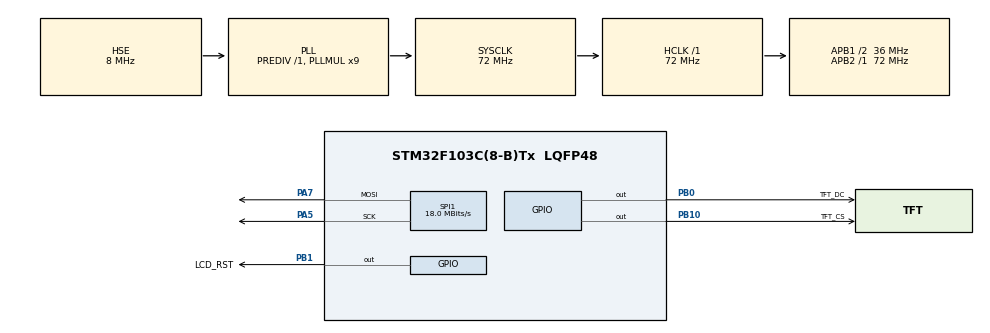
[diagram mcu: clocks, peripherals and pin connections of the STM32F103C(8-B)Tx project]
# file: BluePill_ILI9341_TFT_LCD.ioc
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Dma.Request0=SPI1_TX
Dma.SPI1_TX.0.Direction=DMA_MEMORY_TO_PERIPH
Dma.SPI1_TX.0.Instance=DMA1_Channel3
Dma.SPI1_TX.0.MemDataAlignment=DMA_MDATAALIGN_BYTE
Dma.SPI1_TX.0.MemInc=DMA_MINC_ENABLE
Dma.SPI1_TX.0.Mode=DMA_NORMAL
Dma.SPI1_TX.0.PeriphDataAlignment=DMA_PDATAALIGN_BYTE
Dma.SPI1_TX.0.PeriphInc=DMA_PINC_DISABLE
Dma.SPI1_TX.0.Priority=DMA_PRIORITY_LOW
Mcu.Family=STM32F1
Mcu.Name=STM32F103C(8-B)Tx
Mcu.Package=LQFP48
NVIC.DMA1_Channel3_IRQn=true\:0\:0\:false\:false\:true\:false\:true\:true
NVIC.PriorityGroup=NVIC_PRIORITYGROUP_4
PA13.Mode=Serial_Wire
PA13.Signal=SYS_JTMS-SWDIO
PA14.Mode=Serial_Wire
PA14.Signal=SYS_JTCK-SWCLK
PA5.Mode=TX_Only_Simplex_Unidirect_Master
PA5.Signal=SPI1_SCK
PA7.Mode=TX_Only_Simplex_Unidirect_Master
PA7.Signal=SPI1_MOSI
PB0.GPIO_Label=TFT_DC
PB0.Signal=GPIO_Output
PB1.GPIO_Label=LCD_RST
PB1.Signal=GPIO_Output
PB10.GPIO_Label=TFT_CS
PB10.Signal=GPIO_Output
PD0-OSC_IN.Mode=HSE-External-Oscillator
PD0-OSC_IN.Signal=RCC_OSC_IN
PD1-OSC_OUT.Mode=HSE-External-Oscillator
PD1-OSC_OUT.Signal=RCC_OSC_OUT
ProjectManager.HeapSize=0x200
ProjectManager.StackSize=0x400
ProjectManager.TargetToolchain=STM32CubeIDE
RCC.AHBFreq_Value=72000000
RCC.APB1CLKDivider=RCC_HCLK_DIV2
RCC.APB1Freq_Value=36000000
RCC.APB1TimFreq_Value=72000000
RCC.APB2Freq_Value=72000000
RCC.APB2TimFreq_Value=72000000
RCC.HCLKFreq_Value=72000000
RCC.PLLMUL=RCC_PLL_MUL9
RCC.PLLSourceVirtual=RCC_PLLSOURCE_HSE
RCC.SYSCLKFreq_VALUE=72000000
RCC.SYSCLKSource=RCC_SYSCLKSOURCE_PLLCLK
RCC.USBFreq_Value=72000000
SPI1.BaudRatePrescaler=SPI_BAUDRATEPRESCALER_4
SPI1.CalculateBaudRate=18.0 MBits/s
SPI1.Direction=SPI_DIRECTION_2LINES
SPI1.Mode=SPI_MODE_MASTER
SPI1.VirtualType=VM_MASTER
board=custom

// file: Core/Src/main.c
/* USER CODE BEGIN Header */
/**
  ******************************************************************************
  * @file           : main.c
  * @brief          : Main program body
  ******************************************************************************
  * @attention
  *
  * Copyright (c) 2025 STMicroelectronics.
  * All rights reserved.
  *
  * This software is licensed under terms that can be found in the LICENSE file
  * in the root directory of this software component.
  * If no LICENSE file comes with this software, it is provided AS-IS.
  *
  ******************************************************************************
  */
/* USER CODE END Header */
#include "main.h"

/* USER CODE BEGIN Includes */
#include "ILI9341_STM32_Driver.h"
#include "ILI9341_GFX.h"
#include "stdio.h"
#include "stdlib.h"
/* USER CODE END Includes */

SPI_HandleTypeDef hspi1;
DMA_HandleTypeDef hdma_spi1_tx;

void SystemClock_Config(void);
static void MX_GPIO_Init(void);
static void MX_DMA_Init(void);
static void MX_SPI1_Init(void);

/* USER CODE BEGIN 0 */
static uint16_t x = 0;
static uint16_t y = 0;
static char BufferText[40];
/* USER CODE END 0 */

int main(void)
{

  /* MCU Configuration--------------------------------------------------------*/

  /* Reset of all peripherals, Initializes the Flash interface and the Systick. */
  HAL_Init();

  /* Configure the system clock */
  SystemClock_Config();

  /* Initialize all configured peripherals */
  MX_GPIO_Init();
  MX_DMA_Init();
  MX_SPI1_Init();
  /* USER CODE BEGIN 2 */
  ILI9341_Init();

	// Simple Text writing (Text, Font, X, Y, Color, BackColor)
	// Available Fonts are FONT1, FONT2, FONT3 and FONT4
	ILI9341_FillScreen(WHITE);
	ILI9341_SetRotation(SCREEN_HORIZONTAL_2);
	ILI9341_DrawText("HELLO WORLD", FONT4, 90, 110, BLACK, WHITE);
	HAL_Delay(1000);

	//Writing numbers
	ILI9341_FillScreen(WHITE);
	for(uint8_t i = 0; i <= 5; i++)
	{
	  sprintf(BufferText, "COUNT : %d", i);
	  ILI9341_DrawText(BufferText, FONT3, 10, 10, BLACK, WHITE);
	  ILI9341_DrawText(BufferText, FONT3, 10, 30, BLUE, WHITE);
	  ILI9341_DrawText(BufferText, FONT3, 10, 50, RED, WHITE);
	  ILI9341_DrawText(BufferText, FONT3, 10, 70, GREEN, WHITE);
	  ILI9341_DrawText(BufferText, FONT3, 10, 90, YELLOW, WHITE);
	  ILI9341_DrawText(BufferText, FONT3, 10, 110, PURPLE, WHITE);
	  ILI9341_DrawText(BufferText, FONT3, 10, 130, ORANGE, WHITE);
	  ILI9341_DrawText(BufferText, FONT3, 10, 150, MAROON, WHITE);
	  ILI9341_DrawText(BufferText, FONT3, 10, 170, WHITE, BLACK);
	  ILI9341_DrawText(BufferText, FONT3, 10, 190, BLUE, BLACK);
	}

	// Horizontal Line (X, Y, Length, Color)
	ILI9341_FillScreen(WHITE);
	ILI9341_DrawHLine(50, 120, 200, NAVY);
	HAL_Delay(1000);

	// Vertical Line (X, Y, Length, Color)
	ILI9341_FillScreen(WHITE);
	ILI9341_DrawVLine(160, 40, 150, DARKGREEN);
	HAL_Delay(1000);

	// Hollow Circle (Centre X, Centre Y, Radius, Color)
	ILI9341_FillScreen(WHITE);
	ILI9341_DrawHollowCircle(160, 120, 80, PINK);
	HAL_Delay(1000);

	// Filled Circle (Centre X, Centre Y, Radius, Color)
	ILI9341_FillScreen(WHITE);
	ILI9341_DrawFilledCircle(160, 120, 50, CYAN);
	HAL_Delay(1000);

	// Filled Rectangle (Start X, Start Y, Length X, Length Y)
	ILI9341_FillScreen(WHITE);
	ILI9341_DrawRectangle(50, 50, 220, 140, GREENYELLOW);
	HAL_Delay(1000);

	// Hollow Rectangle (Start X, Start Y, End X, End Y)
	ILI9341_FillScreen(WHITE);
	ILI9341_DrawHollowRectangleCoord(50, 50, 270, 190, DARKCYAN);
	HAL_Delay(1000);

	// Simple Pixel Only (X, Y, Color)
	ILI9341_FillScreen(WHITE);
	ILI9341_DrawPixel(100, 100, BLACK);
	HAL_Delay(1000);

	/* COUNTING MULTIPLE SEGMENTS */
	ILI9341_FillScreen(WHITE);
	ILI9341_SetRotation(SCREEN_HORIZONTAL_2);
	ILI9341_DrawText("Counting multiple segments at once", FONT2, 10, 10, BLACK, WHITE);
	HAL_Delay(2000);
	ILI9341_FillScreen(WHITE);

	for(uint16_t i = 0; i <= 10; i++)
	{
		sprintf(BufferText, "Counting: %d", i);
		ILI9341_DrawText(BufferText, FONT3, 10, 10, BLACK, WHITE);
		ILI9341_DrawText(BufferText, FONT3, 10, 30, BLUE, WHITE);
		ILI9341_DrawText(BufferText, FONT3, 10, 50, RED, WHITE);
		ILI9341_DrawText(BufferText, FONT3, 10, 70, GREEN, WHITE);
		ILI9341_DrawText(BufferText, FONT3, 10, 90, BLACK, WHITE);
		ILI9341_DrawText(BufferText, FONT3, 10, 110, BLUE, WHITE);
		ILI9341_DrawText(BufferText, FONT3, 10, 130, RED, WHITE);
		ILI9341_DrawText(BufferText, FONT3, 10, 150, GREEN, WHITE);
		ILI9341_DrawText(BufferText, FONT3, 10, 170, WHITE, BLACK);
		ILI9341_DrawText(BufferText, FONT3, 10, 190, BLUE, BLACK);
		ILI9341_DrawText(BufferText, FONT3, 10, 210, RED, BLACK);
	}
	HAL_Delay(1000);

	/* COUNTING SINGLE SEGMENT */
	ILI9341_FillScreen(WHITE);
	ILI9341_SetRotation(SCREEN_HORIZONTAL_2);
	ILI9341_DrawText("Counting single segment", FONT3, 10, 10, BLACK, WHITE);
	HAL_Delay(2000);
	ILI9341_FillScreen(WHITE);

	for(uint16_t i = 0; i <= 100; i++)
	{
		sprintf(BufferText, "Counting: %d", i);
		ILI9341_DrawText(BufferText, FONT4, 10, 10, BLACK, WHITE);
		HAL_Delay(10);
	}
	HAL_Delay(1000);

	/* ALIGNMENT TEST */
	ILI9341_FillScreen(WHITE);
	ILI9341_SetRotation(SCREEN_HORIZONTAL_2);
	ILI9341_DrawText("Rectangle alignment check", FONT3, 10, 10, BLACK, WHITE);
	HAL_Delay(2000);
	ILI9341_FillScreen(WHITE);

	ILI9341_DrawHollowRectangleCoord(50, 50, 100, 100, BLACK);
	ILI9341_DrawFilledRectangleCoord(20, 20, 50, 50, BLACK);
	ILI9341_DrawHollowRectangleCoord(10, 10, 19, 19, BLACK);
	HAL_Delay(1000);

	/* LINES EXAMPLE */
	ILI9341_FillScreen(WHITE);
	ILI9341_SetRotation(SCREEN_HORIZONTAL_2);
	ILI9341_DrawText("Randomly placed and sized", FONT3, 10, 10, BLACK, WHITE);
	ILI9341_DrawText("Horizontal and Vertical lines", FONT3, 10, 30, BLACK, WHITE);
	HAL_Delay(2000);
	ILI9341_FillScreen(WHITE);

	for(uint32_t i = 0; i < 30000; i++)
	{
		uint32_t random_num = 0;
		uint16_t xr = 0;
		uint16_t yr = 0;
		uint16_t radiusr = 0;
		uint16_t colourr = 0;

		//Get random inputs
		random_num = rand();
		xr = random_num;
		random_num = rand();
		yr = random_num;
		random_num = rand();
		radiusr = random_num;
		random_num = rand();
		colourr = random_num;

		xr &= 0x01FF;
		yr &= 0x01FF;
		radiusr &= 0x001F;

		ILI9341_DrawHLine(xr, yr, radiusr, colourr);
		ILI9341_DrawVLine(xr, yr, radiusr, colourr);
	}
	HAL_Delay(1000);

	/* HOLLOW CIRCLES EXAMPLE */
	ILI9341_FillScreen(WHITE);
	ILI9341_SetRotation(SCREEN_HORIZONTAL_2);
	ILI9341_DrawText("Randomly placed and sized", FONT3, 10, 10, BLACK, WHITE);
	ILI9341_DrawText("Circles", FONT3, 10, 30, BLACK, WHITE);
	HAL_Delay(2000);
	ILI9341_FillScreen(WHITE);

	for(uint32_t i = 0; i < 3000; i++)
	{
		uint32_t random_num = 0;
		uint16_t xr = 0;
		uint16_t yr = 0;
		uint16_t radiusr = 0;
		uint16_t colourr = 0;

		random_num = rand();
		xr = random_num;
		random_num = rand();
		yr = random_num;
		random_num = rand();
		radiusr = random_num;
		random_num = rand();
		colourr = random_num;

		xr &= 0x01FF;
		yr &= 0x01FF;
		radiusr &= 0x001F;

		ILI9341_DrawHollowCircle(xr, yr, radiusr*2, colourr);
	}
	HAL_Delay(1000);

	/* FILLED CIRCLES EXAMPLE */
	ILI9341_FillScreen(WHITE);
	ILI9341_SetRotation(SCREEN_HORIZONTAL_2);
	ILI9341_DrawText("Randomly placed and sized", FONT3, 10, 10, BLACK,WHITE);
	ILI9341_DrawText("Filled Circles", FONT3, 10, 30, BLACK, WHITE);
	HAL_Delay(2000);
	ILI9341_FillScreen(WHITE);

	for(uint32_t i = 0; i < 1000; i++)
	{
		uint32_t random_num = 0;
		uint16_t xr = 0;
		uint16_t yr = 0;
		uint16_t radiusr = 0;
		uint16_t colourr = 0;

		random_num = rand();
		xr = random_num;
		random_num = rand();
		yr = random_num;
		random_num = rand();
		radiusr = random_num;
		random_num = rand();
		colourr = random_num;

		xr &= 0x01FF;
		yr &= 0x01FF;
		radiusr &= 0x001F;

		ILI9341_DrawFilledCircle(xr, yr, radiusr/2, colourr);
	}
	HAL_Delay(1000);

	/* HOLLOW RECTANGLES EXAMPLE */
	ILI9341_FillScreen(WHITE);
	ILI9341_SetRotation(SCREEN_HORIZONTAL_2);
	ILI9341_DrawText("Randomly placed and sized", FONT3, 10, 10, BLACK, WHITE);
	ILI9341_DrawText("Rectangles", FONT3, 10, 30, BLACK, WHITE);
	HAL_Delay(2000);
	ILI9341_FillScreen(WHITE);

	for(uint32_t i = 0; i < 20000; i++)
	{
		uint32_t random_num = 0;
		uint16_t xr = 0;
		uint16_t yr = 0;
		uint16_t radiusr = 0;
		uint16_t colourr = 0;

		random_num = rand();
		xr = random_num;
		random_num = rand();
		yr = random_num;
		random_num = rand();
		radiusr = random_num;
		random_num = rand();
		colourr = random_num;

		xr &= 0x01FF;
		yr &= 0x01FF;
		radiusr &= 0x001F;

		ILI9341_DrawHollowRectangleCoord(xr, yr, xr+radiusr, yr+radiusr, colourr);
	}
	HAL_Delay(1000);

	/* FILLED RECTANGLES EXAMPLE */
	ILI9341_FillScreen(WHITE);
	ILI9341_SetRotation(SCREEN_HORIZONTAL_2);
	ILI9341_DrawText("Randomly placed and sized", FONT3, 10, 10, BLACK, WHITE);
	ILI9341_DrawText("Filled Rectangles", FONT3, 10, 30, BLACK, WHITE);
	HAL_Delay(2000);
	ILI9341_FillScreen(WHITE);

	for(uint32_t i = 0; i < 20000; i++)
	{
		uint32_t random_num = 0;
		uint16_t xr = 0;
		uint16_t yr = 0;
		uint16_t radiusr = 0;
		uint16_t color = 0;

		random_num = rand();
		xr = random_num;
		random_num = rand();
		yr = random_num;
		random_num = rand();
		radiusr = random_num;
		random_num = rand();
		color = random_num;

		xr &= 0x01FF;
		yr &= 0x01FF;
		radiusr &= 0x001F;

		ILI9341_DrawRectangle(xr, yr, radiusr, radiusr, color);
	}
	HAL_Delay(1000);

	/* INDIVIDUAL PIXEL EXAMPLE */

	ILI9341_FillScreen(WHITE);
	ILI9341_SetRotation(SCREEN_HORIZONTAL_2);
	ILI9341_DrawText("Slow draw by selecting", FONT3, 10, 10, BLACK, WHITE);
	ILI9341_DrawText("and adressing pixels", FONT3, 10, 30, BLACK, WHITE);
	HAL_Delay(2000);
	ILI9341_FillScreen(WHITE);

	x = 0;
	y = 0;

	while (y < ILI9341_SCREEN_HEIGHT)
	{
		while ((x < ILI9341_SCREEN_WIDTH) && (y < ILI9341_SCREEN_HEIGHT))
		{
			if(x % 2)
			{
				ILI9341_DrawPixel(x, y, BLACK);
			}
			x++;
		}
		y++;
		x = 0;
	}

	x = 0;
	y = 0;

	while (y < ILI9341_SCREEN_HEIGHT)
	{
		while ((x < ILI9341_SCREEN_WIDTH) && (y < ILI9341_SCREEN_HEIGHT))
		{
			if(y % 2)
			{
				ILI9341_DrawPixel(x, y, BLACK);
			}
			x++;
		}
		y++;
		x = 0;
	}
	HAL_Delay(2000);

	/* INDIVIDUAL PIXEL EXAMPLE */
	ILI9341_FillScreen(WHITE);
	ILI9341_SetRotation(SCREEN_HORIZONTAL_2);
	ILI9341_DrawText("Random position and color", FONT3, 10, 10, BLACK, WHITE);
	ILI9341_DrawText("500000 pixels", FONT3, 10, 30, BLACK, WHITE);
	HAL_Delay(2000);
	ILI9341_FillScreen(WHITE);

	for(uint32_t i = 0; i < 500000; i++)
	{
		uint32_t random_num = 0;
		uint16_t xr = 0;
		uint16_t yr = 0;

		random_num = rand();
		xr = random_num;
		random_num = rand();
		yr = random_num;
		uint16_t color = rand();

		xr &= 0x01FF;
		yr &= 0x01FF;

		ILI9341_DrawPixel(xr, yr, color);
	}
	HAL_Delay(2000);

	/* 565 GRAYSCALE EXAMPLE */
	ILI9341_FillScreen(WHITE);
	ILI9341_SetRotation(SCREEN_HORIZONTAL_2);
	ILI9341_DrawText("Color gradient", FONT3, 10, 10, BLACK, WHITE);
	ILI9341_DrawText("Grayscale", FONT3, 10, 30, BLACK, WHITE);
	HAL_Delay(2000);

	for(uint16_t i = 0; i <= ILI9341_SCREEN_WIDTH; i++)
	{
		uint16_t Red = 0;
		uint16_t Green = 0;
		uint16_t Blue = 0;

		Red = i/(10);
		Red <<= 11;
		Green = i/(5);
		Green <<= 5;
		Blue = i/(10);

		uint16_t RGB = Red + Green + Blue;
		ILI9341_DrawRectangle(i, x, 1, 240, RGB);

	}
	HAL_Delay(2000);

	/*
	//IMAGE EXAMPLE
	ILI9341_FillScreen(WHITE);
	ILI9341_SetRotation(SCREEN_HORIZONTAL_2);
	ILI9341_DrawText("RGB Picture", FONT3, 10, 10, RED, YELLOW);
	ILI9341_DrawText("TIGER", FONT3, 10, 30, BLACK, WHITE);
	HAL_Delay(2000);
	//ILI9341_DrawImage(snow_tiger, SCREEN_VERTICAL_2);
	ILI9341_SetRotation(SCREEN_VERTICAL_1);
	HAL_Delay(5000);
	*/

  /* USER CODE END 2 */

  /* Infinite loop */
  while (1)
  {

  }
}

void SystemClock_Config(void)
{
  RCC_OscInitTypeDef RCC_OscInitStruct = {0};
  RCC_ClkInitTypeDef RCC_ClkInitStruct = {0};

  /** Initializes the RCC Oscillators according to the specified parameters
  * in the RCC_OscInitTypeDef structure.
  */
  RCC_OscInitStruct.OscillatorType = RCC_OSCILLATORTYPE_HSE;
  RCC_OscInitStruct.HSEState = RCC_HSE_ON;
  RCC_OscInitStruct.HSEPredivValue = RCC_HSE_PREDIV_DIV1;
  RCC_OscInitStruct.HSIState = RCC_HSI_ON;
  RCC_OscInitStruct.PLL.PLLState = RCC_PLL_ON;
  RCC_OscInitStruct.PLL.PLLSource = RCC_PLLSOURCE_HSE;
  RCC_OscInitStruct.PLL.PLLMUL = RCC_PLL_MUL9;
  if (HAL_RCC_OscConfig(&RCC_OscInitStruct) != HAL_OK)
  {
    Error_Handler();
  }

  /** Initializes the CPU, AHB and APB buses clocks
  */
  RCC_ClkInitStruct.ClockType = RCC_CLOCKTYPE_HCLK|RCC_CLOCKTYPE_SYSCLK
                              |RCC_CLOCKTYPE_PCLK1|RCC_CLOCKTYPE_PCLK2;
  RCC_ClkInitStruct.SYSCLKSource = RCC_SYSCLKSOURCE_PLLCLK;
  RCC_ClkInitStruct.AHBCLKDivider = RCC_SYSCLK_DIV1;
  RCC_ClkInitStruct.APB1CLKDivider = RCC_HCLK_DIV2;
  RCC_ClkInitStruct.APB2CLKDivider = RCC_HCLK_DIV1;

  if (HAL_RCC_ClockConfig(&RCC_ClkInitStruct, FLASH_LATENCY_2) != HAL_OK)
  {
    Error_Handler();
  }
}

static void MX_SPI1_Init(void)
{

  /* SPI1 parameter configuration*/
  hspi1.Instance = SPI1;
  hspi1.Init.Mode = SPI_MODE_MASTER;
  hspi1.Init.Direction = SPI_DIRECTION_2LINES;
  hspi1.Init.DataSize = SPI_DATASIZE_8BIT;
  hspi1.Init.CLKPolarity = SPI_POLARITY_LOW;
  hspi1.Init.CLKPhase = SPI_PHASE_1EDGE;
  hspi1.Init.NSS = SPI_NSS_SOFT;
  hspi1.Init.BaudRatePrescaler = SPI_BAUDRATEPRESCALER_4;
  hspi1.Init.FirstBit = SPI_FIRSTBIT_MSB;
  hspi1.Init.TIMode = SPI_TIMODE_DISABLE;
  hspi1.Init.CRCCalculation = SPI_CRCCALCULATION_DISABLE;
  hspi1.Init.CRCPolynomial = 10;
  if (HAL_SPI_Init(&hspi1) != HAL_OK)
  {
    Error_Handler();
  }

}

static void MX_DMA_Init(void)
{

  /* DMA controller clock enable */
  __HAL_RCC_DMA1_CLK_ENABLE();

  /* DMA interrupt init */
  /* DMA1_Channel3_IRQn interrupt configuration */
  HAL_NVIC_SetPriority(DMA1_Channel3_IRQn, 0, 0);
  HAL_NVIC_EnableIRQ(DMA1_Channel3_IRQn);

}

static void MX_GPIO_Init(void)
{
  GPIO_InitTypeDef GPIO_InitStruct = {0};

  /* GPIO Ports Clock Enable */
  __HAL_RCC_GPIOD_CLK_ENABLE();
  __HAL_RCC_GPIOA_CLK_ENABLE();
  __HAL_RCC_GPIOB_CLK_ENABLE();

  /*Configure GPIO pin Output Level */
  HAL_GPIO_WritePin(GPIOB, TFT_DC_Pin|LCD_RST_Pin|TFT_CS_Pin, GPIO_PIN_RESET);

  /*Configure GPIO pins : TFT_DC_Pin LCD_RST_Pin TFT_CS_Pin */
  GPIO_InitStruct.Pin = TFT_DC_Pin|LCD_RST_Pin|TFT_CS_Pin;
  GPIO_InitStruct.Mode = GPIO_MODE_OUTPUT_PP;
  GPIO_InitStruct.Pull = GPIO_NOPULL;
  GPIO_InitStruct.Speed = GPIO_SPEED_FREQ_LOW;
  HAL_GPIO_Init(GPIOB, &GPIO_InitStruct);

}

void Error_Handler(void)
{
  __disable_irq();
  while (1)
  {
  }
}
